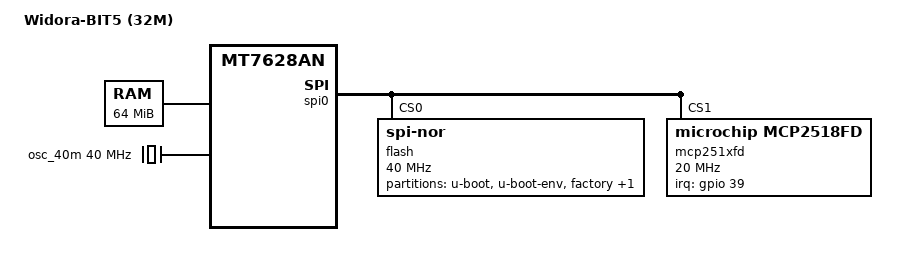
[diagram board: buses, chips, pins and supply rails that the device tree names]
/dts-v1/;

#include "mt7628an_widora_neo.dtsi"
#include <dt-bindings/interrupt-controller/irq.h>

/ {
	compatible = "widora,bit5-32m", "widora,neo", "mediatek,mt7628an-soc";
	model = "Widora-BIT5 (32M)";

	memory@0 {
		device_type = "memory";
		reg = <0x0 0x4000000>;
	};

	osc_40m: clock-osc-40m {
		compatible = "fixed-clock";
		#clock-cells = <0>;
		clock-frequency = <40000000>;
		clock-output-names = "osc_40m";
	};
};

&spi0 {
	status = "okay";

	pinctrl-names = "default";
	pinctrl-0 = <&spi_pins>, <&spi_cs1_pins>;

	flash@0 {
		compatible = "jedec,spi-nor";
		reg = <0>;
		spi-max-frequency = <40000000>;

		partitions {
			compatible = "fixed-partitions";
			#address-cells = <1>;
			#size-cells = <1>;

			partition@0 {
				label = "u-boot";
				reg = <0x0 0x30000>;
				read-only;
			};

			partition@30000 {
				label = "u-boot-env";
				reg = <0x30000 0x10000>;
			};

			factory: partition@40000 {
				label = "factory";
				reg = <0x40000 0x10000>;
				read-only;
			};

			partition@50000 {
				compatible = "denx,uimage";
				label = "firmware";
				reg = <0x50000 0x1fb0000>;
			};
		};
	};
/*
	spidev@1 {
		#address-cells = <1>;
		#size-cells = <1>;
		compatible = "linux,spidev";
		reg = <1>;
		spi-max-frequency = <40000000>;
	};
*/
	mcp251xfd: mcp251xfd@1 {
		#address-cells = <1>;
		#size-cells = <1>;
		reg = <1>;
		compatible = "microchip,mcp2518fd";
		spi-max-frequency = <20000000>;
		//pinctrl-names = "default";
		//pinctrl-0 = <&can_int_pins>;
		interrupts-extended = <&gpio 39 IRQ_TYPE_EDGE_FALLING>;
		//interrupt-parent = <&gpio>;
		//interrupts = <39 IRQ_TYPE_LEVEL_LOW>; // IRQ_TYPE_LEVEL_LOW IRQ_TYPE_EDGE_FALLING
		clocks = <&osc_40m>;
	};
};
